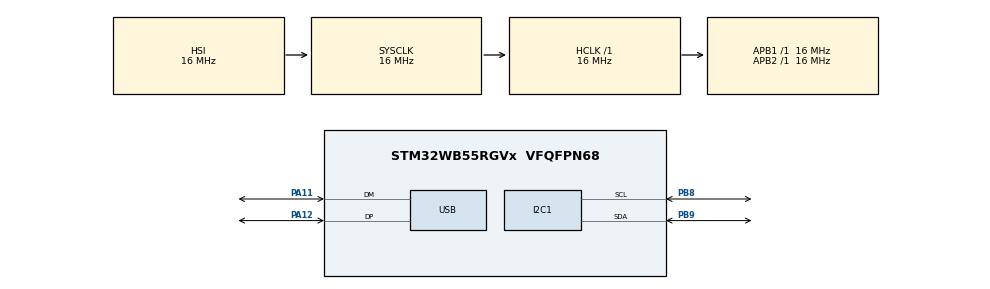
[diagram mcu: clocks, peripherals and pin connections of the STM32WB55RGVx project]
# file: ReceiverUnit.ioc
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I2C1.Timing=0x00303D5B
Mcu.Family=STM32WB
Mcu.Name=STM32WB55RGVx
Mcu.Package=VFQFPN68
NVIC.PriorityGroup=NVIC_PRIORITYGROUP_4
NVIC.RTC_WKUP_IRQn=true\:0\:0\:false\:false\:true\:true\:true\:true
OSC_IN.Mode=HSE-External-Oscillator
OSC_IN.Signal=RCC_OSC_IN
OSC_OUT.Mode=HSE-External-Oscillator
OSC_OUT.Signal=RCC_OSC_OUT
PA11.Mode=Device
PA11.Signal=USB_DM
PA12.Mode=Device
PA12.Signal=USB_DP
PA13.Signal=SYS_JTMS-SWDIO
PB8.Mode=I2C
PB8.Signal=I2C1_SCL
PB9.Mode=I2C
PB9.Signal=I2C1_SDA
ProjectManager.HeapSize=0x200
ProjectManager.StackSize=0x400
ProjectManager.TargetToolchain=STM32CubeIDE
RCC.ADCFreq_Value=48000000
RCC.AHB2CLKDivider=RCC_SYSCLK_DIV2
RCC.AHBFreq_Value=16000000
RCC.APB1Freq_Value=16000000
RCC.APB1TimFreq_Value=16000000
RCC.APB2Freq_Value=16000000
RCC.APB2TimFreq_Value=16000000
RCC.APB3Freq_Value=4000000
RCC.Cortex2_Div=SYSTICK_CLKSOURCE_HCLK_DIV8
RCC.CortexFreq_Value=16000000
RCC.HCLKFreq_Value=16000000
RCC.HSE_VALUE=8000000
RCC.HSI48_VALUE=48000000
RCC.HSI_VALUE=16000000
RCC.LSE_VALUE=32768
RCC.PLLN=32
RCC.PLLP=RCC_PLLP_DIV8
RCC.PLLQ=RCC_PLLQ_DIV8
RCC.PLLR=RCC_PLLR_DIV8
RCC.PLLSAI1N=24
RCC.SMPSCLockSelectionVirtual=RCC_SMPSCLKSOURCE_HSI
RCC.SMPSCLockSelectionVirtualVirtual=RCC_SMPSCLKSOURCE_HSI
RCC.SMPSDivider=1
RCC.SYSCLKFreq_VALUE=16000000
RCC.SYSCLKSource=RCC_SYSCLKSOURCE_HSI
RCC.USBFreq_Value=48000000
RCC.VCOOutputFreq_Value=128000000
VP_MEMORYMAP_VS_MEMORYMAP.Mode=CurAppReg
VP_RTC_VS_RTC_Activate.Mode=RTC_Enabled
VP_RTC_VS_RTC_WakeUp_intern.Mode=WakeUp
board=P-NUCLEO-WB55-NUCLEO

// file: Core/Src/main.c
/* USER CODE BEGIN Header */
/**
  ******************************************************************************
  * @file           : main.c
  * @brief          : Main program body
  ******************************************************************************
  * @attention
  *
  * Copyright (c) 2024 STMicroelectronics.
  * All rights reserved.
  *
  * This software is licensed under terms that can be found in the LICENSE file
  * in the root directory of this software component.
  * If no LICENSE file comes with this software, it is provided AS-IS.
  *
  ******************************************************************************
  */
/* USER CODE END Header */
#include "main.h"
#include <string.h>
#include "./BME280/bme280.h"
#include <stdio.h>
#include <stdlib.h>
#include <math.h>

I2C_HandleTypeDef hi2c1;

RTC_HandleTypeDef hrtc;

PCD_HandleTypeDef hpcd_USB_FS;

void SystemClock_Config(void);
void PeriphCommonClock_Config(void);
static void MX_GPIO_Init(void);
static void MX_USB_PCD_Init(void);
static void MX_RTC_Init(void);
static void MX_I2C1_Init(void);
int8_t user_i2c_read(uint8_t id, uint8_t reg_addr, uint8_t *data, uint16_t len);
int8_t user_i2c_write(uint8_t id, uint8_t reg_addr, uint8_t *data, uint16_t len);
void user_delay_ms(uint32_t period);
void bme280_error_codes_print_result(const char api_name[], int8_t rslt);
/* USER CODE BEGIN PFP */

float temperature;
float humidity;
float pressure;

struct bme280_dev dev;
struct bme280_data comp_data;
int8_t result;

char hum_string[50];
char temp_string[50];
char press_string[50];

/* USER CODE END PFP */

/* USER CODE BEGIN 0 */
void bme280_error_codes_print_result(const char api_name[], int8_t rslt)
{
    if (rslt != BME280_OK)
    {
        printf("%s\t", api_name);

        switch (rslt)
        {
            case BME280_E_NULL_PTR:
                printf("Error [%d] : Null pointer error.", rslt);
                printf(
                    "It occurs when the user tries to assign value (not address) to a pointer, which has been initialized to NULL.\r\n");
                break;

            case BME280_E_COMM_FAIL:
                printf("Error [%d] : Communication failure error.", rslt);
                printf(
                    "It occurs due to read/write operation failure and also due to power failure during communication\r\n");
                break;

            case BME280_E_DEV_NOT_FOUND:
                printf("Error [%d] : Device not found error. It occurs when the device chip id is incorrectly read\r\n",
                       rslt);
                break;

            case BME280_E_INVALID_LEN:
                printf("Error [%d] : Invalid length error. It occurs when write is done with invalid length\r\n", rslt);
                break;

            default:
                printf("Error [%d] : Unknown error code\r\n", rslt);
                break;
        }
    }
}

int8_t user_i2c_read(uint8_t id, uint8_t reg_addr, uint8_t *data, uint16_t len)
{
  if(HAL_I2C_Master_Transmit(&hi2c1, (id << 1), &reg_addr, 1, 10) != HAL_OK) return -1;
  if(HAL_I2C_Master_Receive(&hi2c1, (id << 1) | 0x01, data, len, 10) != HAL_OK) return -1;

  return 0;
}

void user_delay_ms(uint32_t period)
{
  HAL_Delay(period);
}

int8_t user_i2c_write(uint8_t id, uint8_t reg_addr, uint8_t *data, uint16_t len)
{
  int8_t *buf;
  buf = malloc(len +1);
  buf[0] = reg_addr;
  memcpy(buf +1, data, len);

  if(HAL_I2C_Master_Transmit(&hi2c1, (id << 1), (uint8_t*)buf, len + 1, HAL_MAX_DELAY) != HAL_OK) return -1;

  free(buf);
  return 0;
}
/* USER CODE END 0 */

int main(void)
{

  /* MCU Configuration--------------------------------------------------------*/

  /* Reset of all peripherals, Initializes the Flash interface and the Systick. */
  HAL_Init();

  /* Configure the system clock */
  SystemClock_Config();

/* Configure the peripherals common clocks */
  PeriphCommonClock_Config();

  /* Initialize all configured peripherals */
  MX_GPIO_Init();
  MX_USB_PCD_Init();
  MX_RTC_Init();
  MX_I2C1_Init();
  /* USER CODE BEGIN 2 */

  /* BME280 init */
  dev.dev_id = BME280_I2C_ADDR_PRIM;
  dev.chip_id = BME280_CHIP_ID;
  dev.intf = BME280_I2C_INTF;
  dev.read = user_i2c_read;
  dev.write = user_i2c_write;
  dev.delay_ms = user_delay_ms;

  result = bme280_init(&dev);
  bme280_error_codes_print_result("bme280_init", result);

      /* BME280 settings */
  dev.settings.osr_h = BME280_OVERSAMPLING_1X;
  dev.settings.osr_p = BME280_OVERSAMPLING_16X;
  dev.settings.osr_t = BME280_OVERSAMPLING_2X;
  dev.settings.filter = BME280_FILTER_COEFF_16;
  result = bme280_set_sensor_settings(BME280_OSR_PRESS_SEL | BME280_OSR_TEMP_SEL | BME280_OSR_HUM_SEL | BME280_FILTER_SEL, &dev);
  bme280_error_codes_print_result("bme280_set_sensor_settings", result);
//  if (__HAL_PWR_GET_FLAG(PWR_FLAG_SB) != 0){
//	  __HAL_PWR_CLEAR_FLAG(PWR_FLAG_SB);
//	  HAL_PWR_DisableWakeUpPin(PWR_WAKEUP_PIN1);
//	  HAL_RTCEx_DeactivateWakeUpTimer(&hrtc);
//  }
//
//  __HAL_PWR_CLEAR_FLAG(PWR_FLAG_WU);
//  __HAL_RTC_WAKEUPTIMER_CLEAR_FLAG(&hrtc, RTC_FLAG_WUTF);
//
//  //HAL_PWR_EnableWakeUpPin(PWR_WAKEUP_PIN1);
//  if (HAL_RTCEx_SetWakeUpTimer_IT(&hrtc, 0x2710, RTC_WAKEUPCLOCK_RTCCLK_DIV16) != HAL_OK)
//  {
//    Error_Handler();
//  }
//
//
//  HAL_PWR_EnterSTANDBYMode();

//  MODIFY_REG(PWR->CR1, PWR_CR1_LPMS, PWR_LOWPOWERMODE_STANDBY);
//
//  /* Set SLEEPDEEP bit of Cortex System Control Register */
//  SET_BIT(SCB->SCR, ((uint32_t)SCB_SCR_SLEEPDEEP_Msk));
//  __WFI();
  /* USER CODE END 2 */

  /* Infinite loop */
  while (1)
  {
	  /* Forced mode setting, switched to SLEEP mode after measurement */
	  result = bme280_set_sensor_mode(BME280_FORCED_MODE, &dev);
	  bme280_error_codes_print_result("bme280_set_sensor_mode", result);
	  dev.delay_ms(40);
	  /*Get Data */
	  result = bme280_get_sensor_data(BME280_ALL, &comp_data, &dev);
	  if(result == BME280_OK)
	   {
		  temperature = comp_data.temperature / 100.0;
	      humidity = comp_data.humidity / 1024.0;
	      pressure = comp_data.pressure / 10000.0;

	      temperature = roundf(temperature*10.0f)/10.0f;
	      humidity = roundf(humidity*10.0f)/10.0f;
	      pressure = roundf(pressure*10.0f)/10.0f;

	        /*Display Data */
//	      memset(hum_string, 0, sizeof(hum_string));
//	      memset(temp_string, 0, sizeof(temp_string));
//	      memset(press_string, 0, sizeof(press_string));
//
//	      sprintf(hum_string, "Humidity %03.1f %% ", humidity);
//	      sprintf(temp_string, "Temperature %03.1f C ", temperature);
//	      sprintf(press_string, "Pressure %03.1f hPa ", pressure);
    /* USER CODE BEGIN 3 */
  }
	  HAL_Delay(1000);
  /* USER CODE END 3 */
}
}

void SystemClock_Config(void)
{
  RCC_OscInitTypeDef RCC_OscInitStruct = {0};
  RCC_ClkInitTypeDef RCC_ClkInitStruct = {0};

  /** Macro to configure the PLL multiplication factor
  */
  __HAL_RCC_PLL_PLLM_CONFIG(RCC_PLLM_DIV1);

  /** Macro to configure the PLL clock source
  */
  __HAL_RCC_PLL_PLLSOURCE_CONFIG(RCC_PLLSOURCE_MSI);

  /** Configure the main internal regulator output voltage
  */
  __HAL_PWR_VOLTAGESCALING_CONFIG(PWR_REGULATOR_VOLTAGE_SCALE1);

  /** Initializes the RCC Oscillators according to the specified parameters
  * in the RCC_OscInitTypeDef structure.
  */
  RCC_OscInitStruct.OscillatorType = RCC_OSCILLATORTYPE_HSI|RCC_OSCILLATORTYPE_LSI1
                              |RCC_OSCILLATORTYPE_HSE|RCC_OSCILLATORTYPE_LSE
                              |RCC_OSCILLATORTYPE_MSI;
  RCC_OscInitStruct.HSEState = RCC_HSE_ON;
  RCC_OscInitStruct.LSEState = RCC_LSE_OFF;
  RCC_OscInitStruct.HSIState = RCC_HSI_ON;
  RCC_OscInitStruct.MSIState = RCC_MSI_ON;
  RCC_OscInitStruct.HSICalibrationValue = RCC_HSICALIBRATION_DEFAULT;
  RCC_OscInitStruct.MSICalibrationValue = RCC_MSICALIBRATION_DEFAULT;
  RCC_OscInitStruct.MSIClockRange = RCC_MSIRANGE_6;
  RCC_OscInitStruct.LSIState = RCC_LSI_ON;
  RCC_OscInitStruct.PLL.PLLState = RCC_PLL_NONE;
  if (HAL_RCC_OscConfig(&RCC_OscInitStruct) != HAL_OK)
  {
    Error_Handler();
  }

  /** Configure the SYSCLKSource, HCLK, PCLK1 and PCLK2 clocks dividers
  */
  RCC_ClkInitStruct.ClockType = RCC_CLOCKTYPE_HCLK4|RCC_CLOCKTYPE_HCLK2
                              |RCC_CLOCKTYPE_HCLK|RCC_CLOCKTYPE_SYSCLK
                              |RCC_CLOCKTYPE_PCLK1|RCC_CLOCKTYPE_PCLK2;
  RCC_ClkInitStruct.SYSCLKSource = RCC_SYSCLKSOURCE_HSI;
  RCC_ClkInitStruct.AHBCLKDivider = RCC_SYSCLK_DIV1;
  RCC_ClkInitStruct.APB1CLKDivider = RCC_HCLK_DIV1;
  RCC_ClkInitStruct.APB2CLKDivider = RCC_HCLK_DIV1;
  RCC_ClkInitStruct.AHBCLK2Divider = RCC_SYSCLK_DIV2;
  RCC_ClkInitStruct.AHBCLK4Divider = RCC_SYSCLK_DIV1;

  if (HAL_RCC_ClockConfig(&RCC_ClkInitStruct, FLASH_LATENCY_0) != HAL_OK)
  {
    Error_Handler();
  }

  /** Enable MSI Auto calibration
  */
  HAL_RCCEx_EnableMSIPLLMode();
}

void PeriphCommonClock_Config(void)
{
  RCC_PeriphCLKInitTypeDef PeriphClkInitStruct = {0};

  /** Initializes the peripherals clock
  */
  PeriphClkInitStruct.PeriphClockSelection = RCC_PERIPHCLK_SMPS;
  PeriphClkInitStruct.SmpsClockSelection = RCC_SMPSCLKSOURCE_HSI;
  PeriphClkInitStruct.SmpsDivSelection = RCC_SMPSCLKDIV_RANGE0;

  if (HAL_RCCEx_PeriphCLKConfig(&PeriphClkInitStruct) != HAL_OK)
  {
    Error_Handler();
  }
}

static void MX_I2C1_Init(void)
{

  hi2c1.Instance = I2C1;
  hi2c1.Init.Timing = 0x00303D5B;
  hi2c1.Init.OwnAddress1 = 0;
  hi2c1.Init.AddressingMode = I2C_ADDRESSINGMODE_7BIT;
  hi2c1.Init.DualAddressMode = I2C_DUALADDRESS_DISABLE;
  hi2c1.Init.OwnAddress2 = 0;
  hi2c1.Init.OwnAddress2Masks = I2C_OA2_NOMASK;
  hi2c1.Init.GeneralCallMode = I2C_GENERALCALL_DISABLE;
  hi2c1.Init.NoStretchMode = I2C_NOSTRETCH_DISABLE;
  if (HAL_I2C_Init(&hi2c1) != HAL_OK)
  {
    Error_Handler();
  }

  /** Configure Analogue filter
  */
  if (HAL_I2CEx_ConfigAnalogFilter(&hi2c1, I2C_ANALOGFILTER_ENABLE) != HAL_OK)
  {
    Error_Handler();
  }

  /** Configure Digital filter
  */
  if (HAL_I2CEx_ConfigDigitalFilter(&hi2c1, 0) != HAL_OK)
  {
    Error_Handler();
  }

}

static void MX_RTC_Init(void)
{

  /** Initialize RTC Only
  */
  hrtc.Instance = RTC;
  hrtc.Init.HourFormat = RTC_HOURFORMAT_24;
  hrtc.Init.AsynchPrediv = 127;
  hrtc.Init.SynchPrediv = 255;
  hrtc.Init.OutPut = RTC_OUTPUT_DISABLE;
  hrtc.Init.OutPutPolarity = RTC_OUTPUT_POLARITY_HIGH;
  hrtc.Init.OutPutType = RTC_OUTPUT_TYPE_OPENDRAIN;
  hrtc.Init.OutPutRemap = RTC_OUTPUT_REMAP_NONE;
  if (HAL_RTC_Init(&hrtc) != HAL_OK)
  {
    Error_Handler();
  }

  /** Enable the WakeUp
  */
  if (HAL_RTCEx_SetWakeUpTimer_IT(&hrtc, 0, RTC_WAKEUPCLOCK_RTCCLK_DIV16) != HAL_OK)
  {
    Error_Handler();
  }

}

static void MX_USB_PCD_Init(void)
{

  hpcd_USB_FS.Instance = USB;
  hpcd_USB_FS.Init.dev_endpoints = 8;
  hpcd_USB_FS.Init.speed = PCD_SPEED_FULL;
  hpcd_USB_FS.Init.phy_itface = PCD_PHY_EMBEDDED;
  hpcd_USB_FS.Init.Sof_enable = DISABLE;
  hpcd_USB_FS.Init.low_power_enable = DISABLE;
  hpcd_USB_FS.Init.lpm_enable = DISABLE;
  hpcd_USB_FS.Init.battery_charging_enable = DISABLE;
  if (HAL_PCD_Init(&hpcd_USB_FS) != HAL_OK)
  {
    Error_Handler();
  }

}

static void MX_GPIO_Init(void)
{

  /* GPIO Ports Clock Enable */
  __HAL_RCC_GPIOB_CLK_ENABLE();
  __HAL_RCC_GPIOA_CLK_ENABLE();

}

void Error_Handler(void)
{
  __disable_irq();
  while (1)
  {
  }
}
